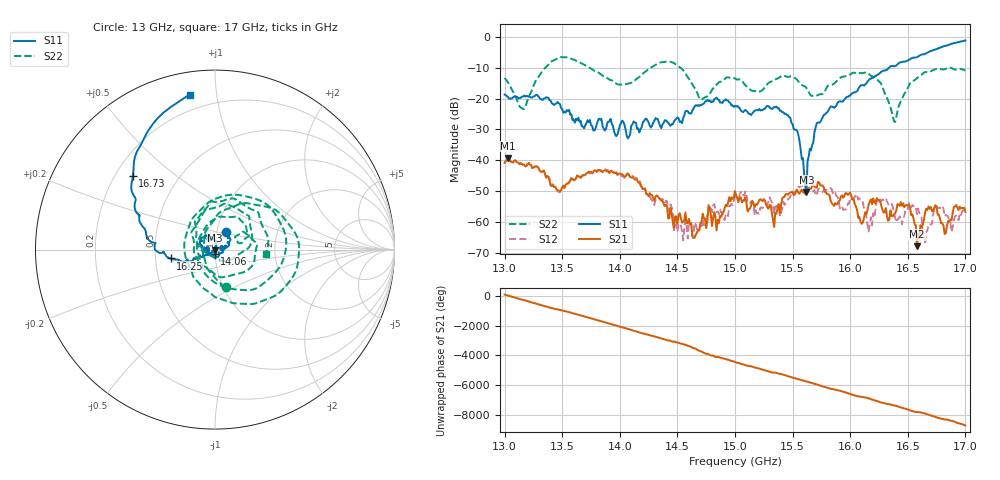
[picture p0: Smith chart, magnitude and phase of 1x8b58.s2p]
!Keysight Technologies,P9374A,MY57211807,A.19.30.04
!Date: Friday, May 08, 2026 14:29:52
!Correction: S11(C  2-Port  )
!S21(C  2-Port  )
!S12(C  2-Port  )
!S22(C  2-Port  )
!S2P File: Measurements: S11, S21, S12, S22:
# Hz S  dB  R 50
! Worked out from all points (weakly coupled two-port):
!   401 points, 13 GHz to 17 GHz, reference 50 ohm
!   highest |S21| = -39.27 dB at 13.03 GHz (marker M1); lowest = -67.8 dB at 16.58 GHz (marker M2)
!   lowest |S11| = -50.3 dB at 15.62 GHz (marker M3), VSWR 1.01, Z = 50.1 - j0.299 ohm
!   |S11| at or under -10 dB: start of sweep to 16.34 GHz
!   |S22| runs from -27.6 to -6.6 dB; largest |S21 - S12| = 0.0016
!   S11 on the Smith chart (normalised r, x): 13 GHz: 1.11, +0.22; 14.06 GHz: 1.00, -0.05; 16.25 GHz: 0.60, -0.06; 16.73 GHz: 0.27, +0.36; 17 GHz: 0.12, +0.84
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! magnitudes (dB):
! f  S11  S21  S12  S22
! 13 GHz  -18.7  -40.8  -40.7  -13.3
! 13.03 GHz  -19.5  -39.3  -39.3  -14.8
! 13.16 GHz  -19.4  -41.3  -41.5  -23.3
! 13.41 GHz  -21.5  -48.3  -48.0  -7.9
! 13.67 GHz  -29.0  -45.2  -45.1  -8.6
! 14.06 GHz  -32.1  -44.5  -44.8  -15.3
! 14.34 GHz  -27.9  -52.2  -52.2  -8.4
! 14.65 GHz  -22.5  -65.0  -60.1  -16.6
! 15 GHz  -22.4  -50.0  -50.5  -13.5
! 15.34 GHz  -22.7  -61.6  -57.6  -14.1
! 15.46 GHz  -25.4  -51.1  -52.6  -13.0
! 15.62 GHz  -50.3  -49.9  -48.9  -16.6
! 15.67 GHz  -35.0  -48.2  -50.1  -19.2
! 16.07 GHz  -16.9  -58.6  -52.8  -11.7
! 16.17 GHz  -13.6  -53.4  -60.5  -12.3
! 16.25 GHz  -12.0  -52.9  -52.2  -14.3
! 16.34 GHz  -9.9  -59.0  -54.7  -21.8
! 16.5 GHz  -7.7  -54.6  -55.7  -16.6
! 16.58 GHz  -6.6  -67.8  -57.4  -13.4
! 16.65 GHz  -5.5  -56.8  -67.0  -11.4
! 16.73 GHz  -4.2  -55.3  -55.8  -10.6
! 17 GHz  -1.2  -56.7  -56.3  -10.9
